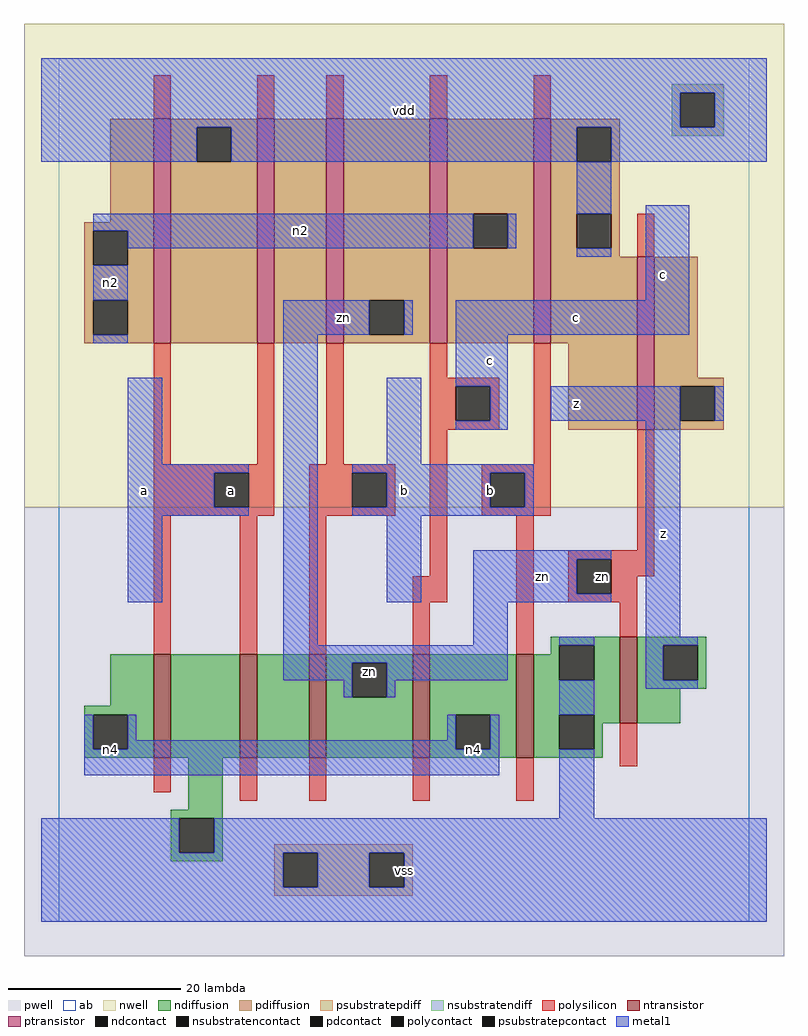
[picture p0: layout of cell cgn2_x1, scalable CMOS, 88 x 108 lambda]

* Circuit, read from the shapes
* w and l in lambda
.subckt cgn2_x1 a b c n2 n4 vdd vss z zn
M1 vss a n4 vss nfet w=12 l=2
M2 n1 a vss vss nfet w=12 l=2
M3 zn b n1 vss nfet w=12 l=2
M4 n4 c zn vss nfet w=12 l=2
M5 vss b n4 vss nfet w=12 l=2
M6 z zn vss vss nfet w=10 l=2
M7 vdd a n2 vdd pfet w=26 l=2
M8 n3 a vdd vdd pfet w=26 l=2
M9 zn b n3 vdd pfet w=26 l=2
M10 n2 c zn vdd pfet w=26 l=2
M11 vdd b n2 vdd pfet w=26 l=2
M12 z zn vdd vdd pfet w=20 l=2
.ends

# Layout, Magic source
magic
tech scmos
<< ab >>
rect 0 0 80 100
<< pwell >>
rect -4 -4 84 48
<< nwell >>
rect -4 48 84 104
<< polysilicon >>
rect 11 93 13 98
rect 23 93 25 98
rect 31 93 33 98
rect 43 93 45 98
rect 55 93 57 98
rect 67 77 69 82
rect 11 53 13 67
rect 23 53 25 67
rect 31 53 33 67
rect 43 63 45 67
rect 43 62 51 63
rect 43 58 46 62
rect 50 58 51 62
rect 43 57 51 58
rect 11 52 25 53
rect 11 48 18 52
rect 22 48 25 52
rect 11 47 25 48
rect 29 52 39 53
rect 29 48 34 52
rect 38 48 39 52
rect 29 47 39 48
rect 11 31 13 47
rect 21 31 23 47
rect 29 31 31 47
rect 43 40 45 57
rect 55 53 57 67
rect 49 52 57 53
rect 49 48 50 52
rect 54 48 57 52
rect 49 47 57 48
rect 41 37 45 40
rect 41 31 43 37
rect 53 31 55 47
rect 67 43 69 57
rect 59 42 69 43
rect 59 38 60 42
rect 64 40 69 42
rect 64 38 67 40
rect 59 37 67 38
rect 65 33 67 37
rect 11 15 13 19
rect 21 14 23 19
rect 29 14 31 19
rect 41 14 43 19
rect 53 14 55 19
rect 65 18 67 23
<< ndiffusion >>
rect 57 32 65 33
rect 57 31 58 32
rect 6 25 11 31
rect 3 24 11 25
rect 3 20 4 24
rect 8 20 11 24
rect 3 19 11 20
rect 13 19 21 31
rect 23 19 29 31
rect 31 30 41 31
rect 31 26 34 30
rect 38 26 41 30
rect 31 19 41 26
rect 43 24 53 31
rect 43 20 46 24
rect 50 20 53 24
rect 43 19 53 20
rect 55 28 58 31
rect 62 28 65 32
rect 55 24 65 28
rect 55 20 58 24
rect 62 23 65 24
rect 67 32 75 33
rect 67 28 70 32
rect 74 28 75 32
rect 67 27 75 28
rect 67 23 72 27
rect 62 20 63 23
rect 55 19 63 20
rect 15 13 19 19
rect 13 12 19 13
rect 13 8 14 12
rect 18 8 19 12
rect 13 7 19 8
<< pdiffusion >>
rect 6 81 11 93
rect 3 80 11 81
rect 3 76 4 80
rect 8 76 11 80
rect 3 72 11 76
rect 3 68 4 72
rect 8 68 11 72
rect 3 67 11 68
rect 13 92 23 93
rect 13 88 16 92
rect 20 88 23 92
rect 13 67 23 88
rect 25 67 31 93
rect 33 72 43 93
rect 33 68 36 72
rect 40 68 43 72
rect 33 67 43 68
rect 45 82 55 93
rect 45 78 48 82
rect 52 78 55 82
rect 45 67 55 78
rect 57 92 65 93
rect 57 88 60 92
rect 64 88 65 92
rect 57 82 65 88
rect 57 78 60 82
rect 64 78 65 82
rect 57 77 65 78
rect 57 67 67 77
rect 59 57 67 67
rect 69 63 74 77
rect 69 62 77 63
rect 69 58 72 62
rect 76 58 77 62
rect 69 57 77 58
<< metal1 >>
rect -2 96 82 100
rect -2 92 72 96
rect 76 92 82 96
rect -2 88 16 92
rect 20 88 60 92
rect 64 88 82 92
rect 60 82 64 88
rect 4 80 48 82
rect 8 78 48 80
rect 52 78 53 82
rect 60 77 64 78
rect 4 72 8 76
rect 68 72 73 83
rect 4 67 8 68
rect 26 68 36 72
rect 40 68 41 72
rect 46 68 73 72
rect 8 53 12 63
rect 8 52 22 53
rect 8 48 18 52
rect 8 47 22 48
rect 8 37 12 47
rect 26 32 30 68
rect 38 53 42 63
rect 46 62 52 68
rect 50 58 52 62
rect 57 58 72 62
rect 76 58 77 62
rect 46 57 52 58
rect 34 52 55 53
rect 38 48 50 52
rect 54 48 55 52
rect 34 47 55 48
rect 38 37 42 47
rect 48 42 64 43
rect 48 38 60 42
rect 48 37 64 38
rect 48 32 52 37
rect 68 33 72 58
rect 26 30 52 32
rect 26 28 34 30
rect 33 26 34 28
rect 38 28 52 30
rect 58 32 62 33
rect 38 26 39 28
rect 58 24 62 28
rect 68 32 74 33
rect 68 28 70 32
rect 68 27 74 28
rect 3 20 4 24
rect 8 21 9 24
rect 45 21 46 24
rect 8 20 46 21
rect 50 20 51 24
rect 3 17 51 20
rect 58 12 62 20
rect -2 8 14 12
rect 18 8 82 12
rect -2 4 26 8
rect 30 4 36 8
rect 40 4 82 8
rect -2 0 82 4
<< ntransistor >>
rect 11 19 13 31
rect 21 19 23 31
rect 29 19 31 31
rect 41 19 43 31
rect 53 19 55 31
rect 65 23 67 33
<< ptransistor >>
rect 11 67 13 93
rect 23 67 25 93
rect 31 67 33 93
rect 43 67 45 93
rect 55 67 57 93
rect 67 57 69 77
<< polycontact >>
rect 46 58 50 62
rect 18 48 22 52
rect 34 48 38 52
rect 50 48 54 52
rect 60 38 64 42
<< ndcontact >>
rect 4 20 8 24
rect 34 26 38 30
rect 46 20 50 24
rect 58 28 62 32
rect 58 20 62 24
rect 70 28 74 32
rect 14 8 18 12
<< pdcontact >>
rect 4 76 8 80
rect 4 68 8 72
rect 16 88 20 92
rect 36 68 40 72
rect 48 78 52 82
rect 60 88 64 92
rect 60 78 64 82
rect 72 58 76 62
<< psubstratepcontact >>
rect 26 4 30 8
rect 36 4 40 8
<< nsubstratencontact >>
rect 72 92 76 96
<< psubstratepdiff >>
rect 25 8 41 9
rect 25 4 26 8
rect 30 4 36 8
rect 40 4 41 8
rect 25 3 41 4
<< nsubstratendiff >>
rect 71 96 77 97
rect 71 92 72 96
rect 76 92 77 96
rect 71 91 77 92
<< labels >>
rlabel polycontact 63 40 63 40 6 zn
rlabel metal1 6 20 6 20 6 n4
rlabel metal1 10 50 10 50 6 a
rlabel metal1 6 74 6 74 6 n2
rlabel polycontact 20 50 20 50 6 a
rlabel metal1 40 6 40 6 6 vss
rlabel ndcontact 36 29 36 29 6 zn
rlabel metal1 40 50 40 50 6 b
rlabel metal1 33 70 33 70 6 zn
rlabel metal1 40 94 40 94 6 vdd
rlabel metal1 48 20 48 20 6 n4
rlabel metal1 56 40 56 40 6 zn
rlabel metal1 50 50 50 50 6 b
rlabel metal1 60 60 60 60 6 z
rlabel metal1 50 65 50 65 6 c
rlabel metal1 60 70 60 70 6 c
rlabel metal1 28 80 28 80 6 n2
rlabel metal1 70 45 70 45 6 z
rlabel metal1 70 75 70 75 6 c
<< end >>
